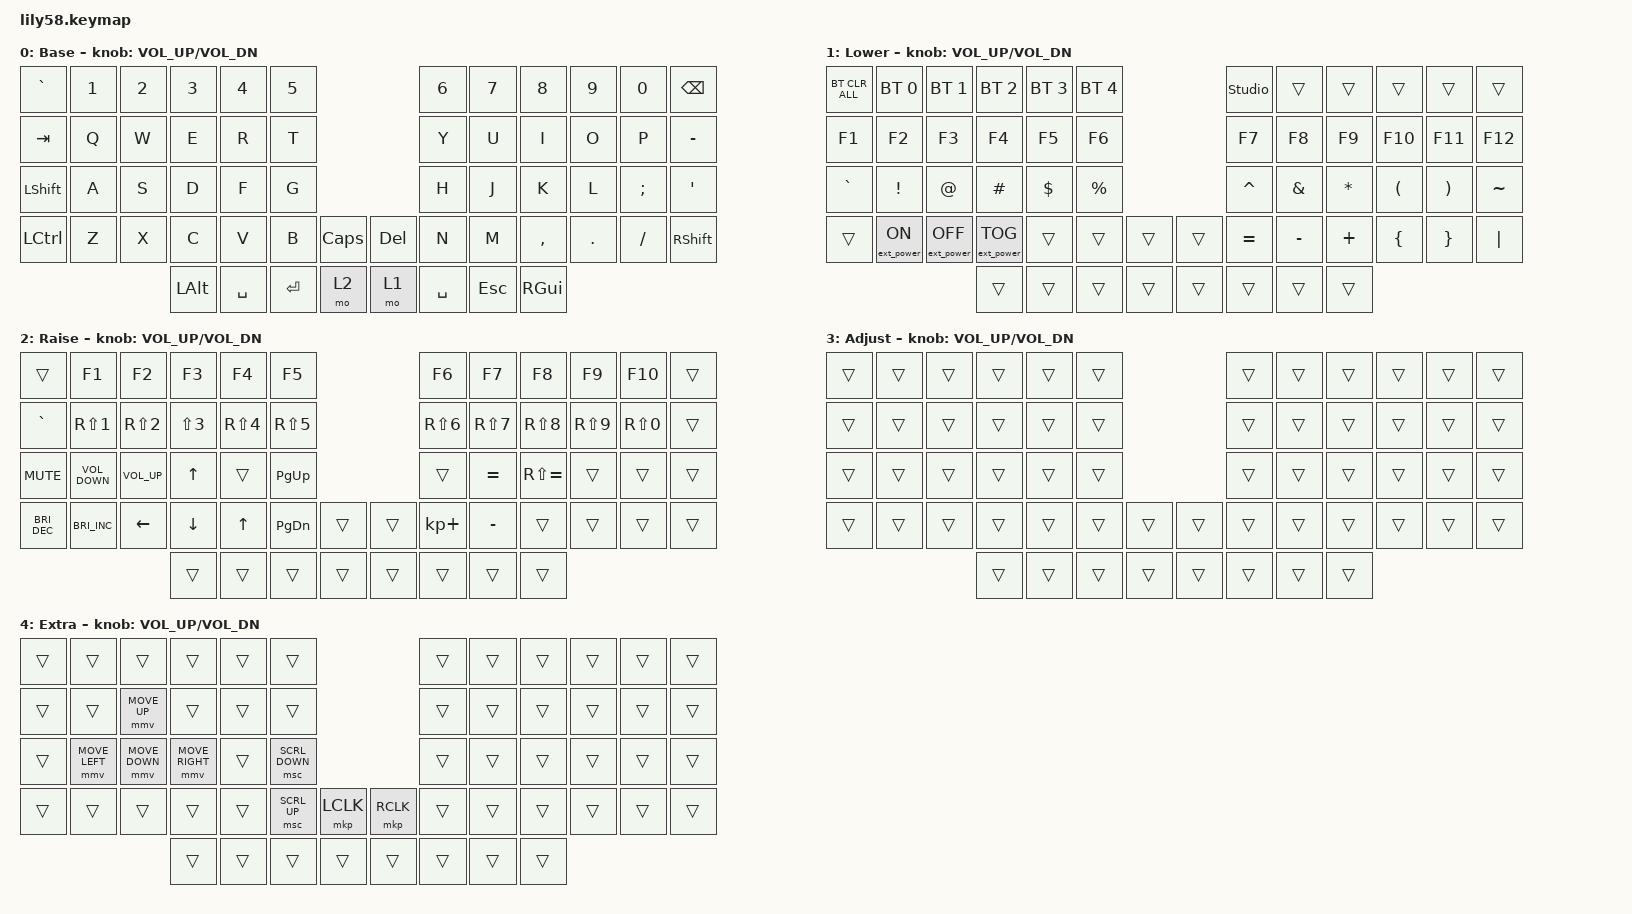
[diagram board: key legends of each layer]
/*
 * Copyright (c) 2020 The ZMK Contributors
 *
 * SPDX-License-Identifier: MIT
 */

#include <behaviors.dtsi>
#include <dt-bindings/zmk/bt.h>
#include <dt-bindings/zmk/ext_power.h>
#include <dt-bindings/zmk/keys.h>
#include <dt-bindings/zmk/pointing.h>

#define default_layer 0
#define lower_layer 1
#define raise_layer 2
#define adjust_layer 3
#define extra_layer 4

/ {
    combos {
        compatible = "zmk,combos";

        combo_open_parenthesis {
            bindings = <&kp RS(N9)>;
            key-positions = <20 21>;
            timeout-ms = <0>;
            layers = <0>;
        };

        combo_close_parenthesis {
            bindings = <&kp RS(N0)>;
            key-positions = <21 22>;
        };

        combo_equals {
            bindings = <&kp EQUAL>;
            key-positions = <19 20>;
        };

        combo_minus {
            bindings = <&kp MINUS>;
            key-positions = <31 32>;
        };

        combo_underscore {
            bindings = <&kp RS(MINUS)>;
            key-positions = <45 46>;
        };

        combo_plus {
            bindings = <&kp RS(EQUAL)>;
            key-positions = <32 33>;
        };

        combo_exclamation {
            bindings = <&kp RS(NUMBER_1)>;
            key-positions = <13 14>;
        };

        combo_at {
            bindings = <&kp RS(NUMBER_2)>;
            key-positions = <14 15>;
        };

        combo_hash {
            bindings = <&kp RS(NUMBER_3)>;
            key-positions = <15 16>;
        };

        combo_dollar {
            bindings = <&kp RS(NUMBER_4)>;
            key-positions = <16 17>;
        };
    };

    keymap {
        compatible = "zmk,keymap";

        default_layer {
            display-name = "Base";

            // ------------------------------------------------------------------------------------------------------------
            // |  ESC  |  1  |  2  |  3   |  4   |  5   |                   |  6   |  7    |  8    |  9   |   0   |   `   |
            // |  TAB  |  Q  |  W  |  E   |  R   |  T   |                   |  Y   |  U    |  I    |  O   |   P   |   -   |
            // |  CTRL |  A  |  S  |  D   |  F   |  G   |                   |  H   |  J    |  K    |  L   |   ;   |   '   |
            // | SHIFT |  Z  |  X  |  C   |  V   |  B   |   "["  |  |  "]"  |  N   |  M    |  ,    |  .   |   /   | SHIFT |
            //                     | ALT  | GUI  | LOWER|  SPACE |  | ENTER | RAISE| BSPC  | GUI   |

            bindings = <
&kp GRAVE         &kp N1  &kp N2  &kp N3    &kp N4     &kp N5                               &kp N6     &kp N7   &kp N8     &kp N9   &kp N0    &kp BACKSPACE
&kp TAB           &kp Q   &kp W   &kp E     &kp R      &kp T                                &kp Y      &kp U    &kp I      &kp O    &kp P     &kp MINUS
&kp LEFT_SHIFT    &kp A   &kp S   &kp D     &kp F      &kp G                                &kp H      &kp J    &kp K      &kp L    &kp SEMI  &kp SQT
&kp LEFT_CONTROL  &kp Z   &kp X   &kp C     &kp V      &kp B       &kp CAPSLOCK    &kp DEL  &kp N      &kp M    &kp COMMA  &kp DOT  &kp FSLH  &kp RSHFT
                                  &kp LALT  &kp SPACE  &kp RETURN  &mo 2           &mo 1    &kp SPACE  &kp ESC  &kp RGUI
            >;

            sensor-bindings = <&inc_dec_kp C_VOL_UP C_VOL_DN>;
        };

        lower_layer {
            display-name = "Lower";

            // ------------------------------------------------------------------------------------------------------------
            // | BTCLR | BT1 | BT2 |  BT3 |  BT4 |  BT5 |                   |      |       |       |      |       |       |
            // |  F1   |  F2 |  F3 |  F4  |  F5  |  F6  |                   |  F7  |  F8   |  F9   |  F10 |  F11  |  F12  |
            // |   `   |  !  |  @  |  #   |  $   |  %   |                   |  ^   |  &    |  *    |  (   |   )   |   ~   |
            // |       |     |     |      |      |      |        |  |       |      |  _    |  +    |  {   |   }   |  "|"  |
            //                     |      |      |      |        |  |       |      |       |       |

            bindings = <
&bt BT_CLR_ALL  &bt BT_SEL 0      &bt BT_SEL 1       &bt BT_SEL 2       &bt BT_SEL 3  &bt BT_SEL 4                    &studio_unlock  &trans     &trans     &trans    &trans    &trans
&kp F1          &kp F2            &kp F3             &kp F4             &kp F5        &kp F6                          &kp F7          &kp F8     &kp F9     &kp F10   &kp F11   &kp F12
&kp GRAVE       &kp EXCL          &kp AT             &kp HASH           &kp DOLLAR    &kp PRCNT                       &kp CARET       &kp AMPS   &kp ASTRK  &kp LPAR  &kp RPAR  &kp TILDE
&trans          &ext_power EP_ON  &ext_power EP_OFF  &ext_power EP_TOG  &trans        &trans        &trans    &trans  &kp EQUAL       &kp MINUS  &kp PLUS   &kp LBRC  &kp RBRC  &kp PIPE
                                                     &trans             &trans        &trans        &trans    &trans  &trans          &trans     &trans
            >;

            sensor-bindings = <&inc_dec_kp C_VOL_UP C_VOL_DN>;
        };

        raise_layer {
            display-name = "Raise";

            // ------------------------------------------------------------------------------------------------------------
            // |       |     |     |      |      |      |                   |      |       |       |      |       |       |
            // |   `   |  1  |  2  |  3   |  4   |  5   |                   |  6   |   7   |   8   |  9   |   0   |       |
            // |   F1  |  F2 |  F3 |  F4  |  F5  |  F6  |                   |      |   <-  |   v   |  ^   |  ->   |       |
            // |   F7  |  F8 |  F9 |  F10 |  F11 |  F12 |        |  |       |  +   |   -   |   =   |  [   |   ]   |   \   |
            //                     |      |      |      |        |  |       |      |       |       |

            bindings = <
&trans                &kp F1                &kp F2           &kp F3        &kp F4        &kp F5                           &kp F6       &kp F7      &kp F8         &kp F9      &kp F10     &trans
&kp GRAVE             &kp RS(N1)            &kp RS(N2)       &kp LS(N3)    &kp RS(N4)    &kp RS(N5)                       &kp RS(N6)   &kp RS(N7)  &kp RS(N8)     &kp RS(N9)  &kp RS(N0)  &trans
&kp C_MUTE            &kp C_VOLUME_DOWN     &kp C_VOLUME_UP  &kp UP_ARROW  &trans        &kp PAGE_UP                      &trans       &kp EQUAL   &kp RS(EQUAL)  &trans      &trans      &trans
&kp C_BRIGHTNESS_DEC  &kp C_BRIGHTNESS_INC  &kp LEFT         &kp DOWN      &kp UP_ARROW  &kp PAGE_DOWN  &trans    &trans  &kp KP_PLUS  &kp MINUS   &trans         &trans      &trans      &trans
                                                             &trans        &trans        &trans         &trans    &trans  &trans       &trans      &trans
            >;

            sensor-bindings = <&inc_dec_kp C_VOL_UP C_VOL_DN>;
        };

        adjust_layer {
            display-name = "Adjust";

            // ------------------------------------------------------------------------------------------------------------
            // |       |     |     |      |      |      |                   |      |       |       |      |       |       |
            // |   `   |  1  |  2  |  3   |  4   |  5   |                   |  6   |   7   |   8   |  9   |   0   |       |
            // |   F1  |  F2 |  F3 |  F4  |  F5  |  F6  |                   |      |   <-  |   v   |  ^   |  ->   |       |
            // |   F7  |  F8 |  F9 |  F10 |  F11 |  F12 |        |  |       |  +   |   -   |   =   |  [   |   ]   |   \   |
            //                     |      |      |      |        |  |       |      |       |       |

            bindings = <
&trans  &trans  &trans  &trans  &trans  &trans                    &trans  &trans  &trans  &trans  &trans  &trans
&trans  &trans  &trans  &trans  &trans  &trans                    &trans  &trans  &trans  &trans  &trans  &trans
&trans  &trans  &trans  &trans  &trans  &trans                    &trans  &trans  &trans  &trans  &trans  &trans
&trans  &trans  &trans  &trans  &trans  &trans  &trans    &trans  &trans  &trans  &trans  &trans  &trans  &trans
                        &trans  &trans  &trans  &trans    &trans  &trans  &trans  &trans
            >;

            sensor-bindings = <&inc_dec_kp C_VOL_UP C_VOL_DN>;
        };

        extra_layer {
            display-name = "Extra";

            // ------------------------------------------------------------------------------------------------------------
            // |       |     |     |      |      |      |                   |      |       |       |      |       |       |
            // |   `   |  1  |  2  |  3   |  4   |  5   |                   |  6   |   7   |   8   |  9   |   0   |       |
            // |   F1  |  F2 |  F3 |  F4  |  F5  |  F6  |                   |      |   <-  |   v   |  ^   |  ->   |       |
            // |   F7  |  F8 |  F9 |  F10 |  F11 |  F12 |        |  |       |  +   |   -   |   =   |  [   |   ]   |   \   |
            //                     |      |      |      |        |  |       |      |       |       |

            bindings = <
&trans  &trans          &trans          &trans           &trans  &trans                                  &trans  &trans  &trans  &trans  &trans  &trans
&trans  &trans          &mmv MOVE_UP    &trans           &trans  &trans                                  &trans  &trans  &trans  &trans  &trans  &trans
&trans  &mmv MOVE_LEFT  &mmv MOVE_DOWN  &mmv MOVE_RIGHT  &trans  &msc SCRL_DOWN                          &trans  &trans  &trans  &trans  &trans  &trans
&trans  &trans          &trans          &trans           &trans  &msc SCRL_UP    &mkp LCLK    &mkp RCLK  &trans  &trans  &trans  &trans  &trans  &trans
                                        &trans           &trans  &trans          &trans       &trans     &trans  &trans  &trans
            >;

            sensor-bindings = <&inc_dec_kp C_VOL_UP C_VOL_DN>;
        };
    };
};
